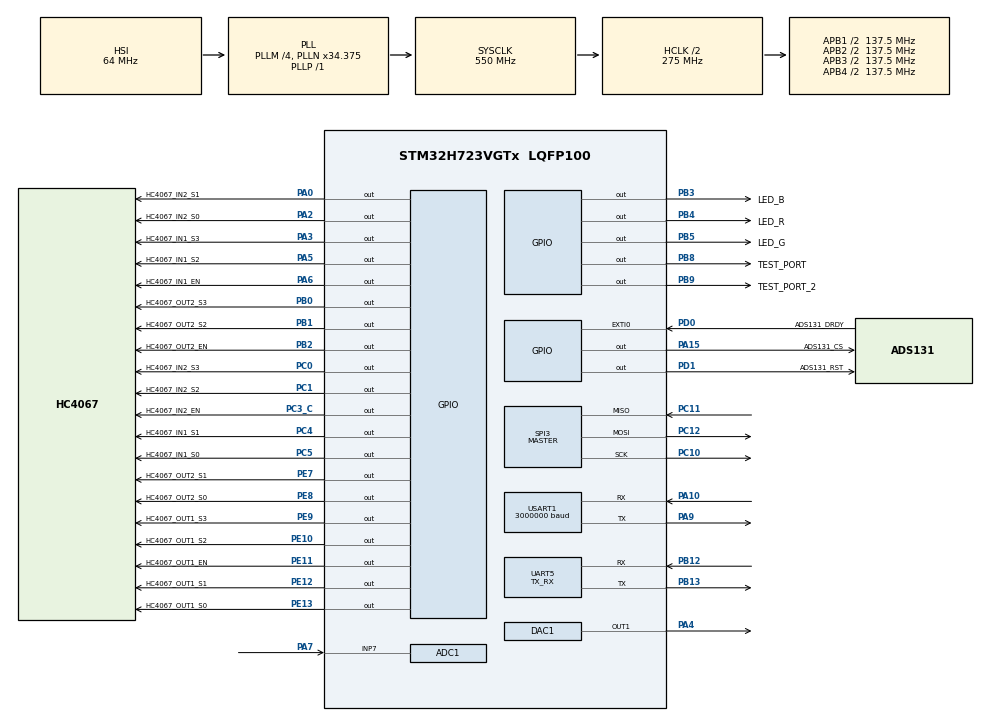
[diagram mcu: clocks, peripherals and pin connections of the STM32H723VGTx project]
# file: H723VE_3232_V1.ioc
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ADC1.Channel-0\#ChannelRegularConversion=ADC_CHANNEL_7
ADC1.ContinuousConvMode=ENABLE
ADC1.ConversionDataManagement=ADC_CONVERSIONDATA_DMA_ONESHOT
ADC1.NbrOfConversionFlag=1
ADC1.OffsetNumber-0\#ChannelRegularConversion=ADC_OFFSET_NONE
ADC1.OffsetSignedSaturation-0\#ChannelRegularConversion=DISABLE
ADC1.Rank-0\#ChannelRegularConversion=1
ADC1.SamplingTime-0\#ChannelRegularConversion=ADC_SAMPLETIME_1CYCLE_5
ADC1.master=1
CORTEX_M7.default_mode_Activation=1
DAC1.DAC_Channel-DAC_OUT1=DAC_CHANNEL_1
DAC1.DAC_Trigger-DAC_OUT1=DAC_TRIGGER_T7_TRGO
Dma.ADC1.3.Direction=DMA_PERIPH_TO_MEMORY
Dma.ADC1.3.EventEnable=DISABLE
Dma.ADC1.3.FIFOMode=DMA_FIFOMODE_DISABLE
Dma.ADC1.3.Instance=DMA2_Stream0
Dma.ADC1.3.MemDataAlignment=DMA_MDATAALIGN_HALFWORD
Dma.ADC1.3.MemInc=DMA_MINC_ENABLE
Dma.ADC1.3.Mode=DMA_NORMAL
Dma.ADC1.3.PeriphDataAlignment=DMA_PDATAALIGN_HALFWORD
Dma.ADC1.3.PeriphInc=DMA_PINC_DISABLE
Dma.ADC1.3.Polarity=HAL_DMAMUX_REQ_GEN_RISING
Dma.ADC1.3.Priority=DMA_PRIORITY_LOW
Dma.ADC1.3.RequestNumber=1
Dma.ADC1.3.SignalID=NONE
Dma.ADC1.3.SyncEnable=DISABLE
Dma.ADC1.3.SyncPolarity=HAL_DMAMUX_SYNC_NO_EVENT
Dma.ADC1.3.SyncRequestNumber=1
Dma.ADC1.3.SyncSignalID=NONE
Dma.DAC1_CH1.2.Direction=DMA_MEMORY_TO_PERIPH
Dma.DAC1_CH1.2.EventEnable=DISABLE
Dma.DAC1_CH1.2.FIFOMode=DMA_FIFOMODE_DISABLE
Dma.DAC1_CH1.2.Instance=DMA2_Stream3
Dma.DAC1_CH1.2.MemDataAlignment=DMA_MDATAALIGN_HALFWORD
Dma.DAC1_CH1.2.MemInc=DMA_MINC_ENABLE
Dma.DAC1_CH1.2.Mode=DMA_NORMAL
Dma.DAC1_CH1.2.PeriphDataAlignment=DMA_PDATAALIGN_HALFWORD
Dma.DAC1_CH1.2.PeriphInc=DMA_PINC_DISABLE
Dma.DAC1_CH1.2.Polarity=HAL_DMAMUX_REQ_GEN_RISING
Dma.DAC1_CH1.2.Priority=DMA_PRIORITY_LOW
Dma.DAC1_CH1.2.RequestNumber=1
Dma.DAC1_CH1.2.SignalID=NONE
Dma.DAC1_CH1.2.SyncEnable=DISABLE
Dma.DAC1_CH1.2.SyncPolarity=HAL_DMAMUX_SYNC_NO_EVENT
Dma.DAC1_CH1.2.SyncRequestNumber=1
Dma.DAC1_CH1.2.SyncSignalID=NONE
Dma.Request0=USART1_RX
Dma.Request1=USART1_TX
Dma.Request2=DAC1_CH1
Dma.Request3=ADC1
Dma.Request4=UART5_TX
Dma.UART5_TX.4.Direction=DMA_MEMORY_TO_PERIPH
Dma.UART5_TX.4.EventEnable=DISABLE
Dma.UART5_TX.4.FIFOMode=DMA_FIFOMODE_DISABLE
Dma.UART5_TX.4.Instance=DMA2_Stream5
Dma.UART5_TX.4.MemDataAlignment=DMA_MDATAALIGN_BYTE
Dma.UART5_TX.4.MemInc=DMA_MINC_ENABLE
Dma.UART5_TX.4.Mode=DMA_NORMAL
Dma.UART5_TX.4.PeriphDataAlignment=DMA_PDATAALIGN_BYTE
Dma.UART5_TX.4.PeriphInc=DMA_PINC_DISABLE
Dma.UART5_TX.4.Polarity=HAL_DMAMUX_REQ_GEN_RISING
Dma.UART5_TX.4.Priority=DMA_PRIORITY_LOW
Dma.UART5_TX.4.RequestNumber=1
Dma.UART5_TX.4.SignalID=NONE
Dma.UART5_TX.4.SyncEnable=DISABLE
Dma.UART5_TX.4.SyncPolarity=HAL_DMAMUX_SYNC_NO_EVENT
Dma.UART5_TX.4.SyncRequestNumber=1
Dma.UART5_TX.4.SyncSignalID=NONE
Dma.USART1_RX.0.Direction=DMA_PERIPH_TO_MEMORY
Dma.USART1_RX.0.EventEnable=DISABLE
Dma.USART1_RX.0.FIFOMode=DMA_FIFOMODE_DISABLE
Dma.USART1_RX.0.Instance=DMA1_Stream0
Dma.USART1_RX.0.MemDataAlignment=DMA_MDATAALIGN_BYTE
Dma.USART1_RX.0.MemInc=DMA_MINC_ENABLE
Dma.USART1_RX.0.Mode=DMA_NORMAL
Dma.USART1_RX.0.PeriphDataAlignment=DMA_PDATAALIGN_BYTE
Dma.USART1_RX.0.PeriphInc=DMA_PINC_DISABLE
Dma.USART1_RX.0.Polarity=HAL_DMAMUX_REQ_GEN_RISING
Dma.USART1_RX.0.Priority=DMA_PRIORITY_MEDIUM
Dma.USART1_RX.0.RequestNumber=1
Dma.USART1_RX.0.SignalID=NONE
Dma.USART1_RX.0.SyncEnable=DISABLE
Dma.USART1_RX.0.SyncPolarity=HAL_DMAMUX_SYNC_NO_EVENT
Dma.USART1_RX.0.SyncRequestNumber=1
Dma.USART1_RX.0.SyncSignalID=NONE
Dma.USART1_TX.1.Direction=DMA_MEMORY_TO_PERIPH
Dma.USART1_TX.1.EventEnable=DISABLE
Dma.USART1_TX.1.FIFOMode=DMA_FIFOMODE_DISABLE
Dma.USART1_TX.1.Instance=DMA1_Stream1
Dma.USART1_TX.1.MemDataAlignment=DMA_MDATAALIGN_BYTE
Dma.USART1_TX.1.MemInc=DMA_MINC_ENABLE
Dma.USART1_TX.1.Mode=DMA_NORMAL
Dma.USART1_TX.1.PeriphDataAlignment=DMA_PDATAALIGN_BYTE
Dma.USART1_TX.1.PeriphInc=DMA_PINC_DISABLE
Dma.USART1_TX.1.Polarity=HAL_DMAMUX_REQ_GEN_RISING
Dma.USART1_TX.1.Priority=DMA_PRIORITY_LOW
Dma.USART1_TX.1.RequestNumber=1
Dma.USART1_TX.1.SignalID=NONE
Dma.USART1_TX.1.SyncEnable=DISABLE
Dma.USART1_TX.1.SyncPolarity=HAL_DMAMUX_SYNC_NO_EVENT
Dma.USART1_TX.1.SyncRequestNumber=1
Dma.USART1_TX.1.SyncSignalID=NONE
Mcu.Family=STM32H7
Mcu.Name=STM32H723VGTx
Mcu.Package=LQFP100
NVIC.DMA1_Stream0_IRQn=true\:1\:0\:true\:false\:true\:false\:true\:true
NVIC.DMA1_Stream1_IRQn=true\:1\:0\:true\:false\:true\:false\:true\:true
NVIC.DMA2_Stream0_IRQn=true\:0\:0\:false\:false\:true\:false\:true\:true
NVIC.DMA2_Stream3_IRQn=true\:0\:0\:false\:false\:true\:false\:true\:true
NVIC.DMA2_Stream5_IRQn=true\:0\:0\:false\:false\:true\:false\:true\:true
NVIC.EXTI0_IRQn=true\:0\:0\:false\:false\:true\:true\:true\:true
NVIC.PriorityGroup=NVIC_PRIORITYGROUP_4
NVIC.SPI3_IRQn=true\:0\:0\:false\:false\:true\:true\:true\:true
NVIC.UART5_IRQn=true\:0\:0\:false\:false\:true\:true\:true\:true
NVIC.USART1_IRQn=true\:0\:0\:false\:false\:true\:false\:true\:true
PA0.GPIO_Label=HC4067_IN2_S1
PA0.GPIO_ModeDefaultOutputPP=GPIO_MODE_OUTPUT_PP
PA0.GPIO_PuPd=GPIO_NOPULL
PA0.GPIO_Speed=GPIO_SPEED_FREQ_VERY_HIGH
PA0.PinState=GPIO_PIN_RESET
PA0.Signal=GPIO_Output
PA10.Mode=Asynchronous
PA10.Signal=USART1_RX
PA13(JTMS/SWDIO).Mode=Serial_Wire
PA13(JTMS/SWDIO).Signal=DEBUG_JTMS-SWDIO
PA14(JTCK/SWCLK).Mode=Serial_Wire
PA14(JTCK/SWCLK).Signal=DEBUG_JTCK-SWCLK
PA15(JTDI).GPIO_Label=ADS131_CS
PA15(JTDI).GPIO_Speed=GPIO_SPEED_FREQ_VERY_HIGH
PA15(JTDI).PinState=GPIO_PIN_SET
PA15(JTDI).Signal=GPIO_Output
PA2.GPIO_Label=HC4067_IN2_S0
PA2.GPIO_ModeDefaultOutputPP=GPIO_MODE_OUTPUT_PP
PA2.GPIO_PuPd=GPIO_NOPULL
PA2.GPIO_Speed=GPIO_SPEED_FREQ_VERY_HIGH
PA2.PinState=GPIO_PIN_RESET
PA2.Signal=GPIO_Output
PA3.GPIO_Label=HC4067_IN1_S3
PA3.GPIO_ModeDefaultOutputPP=GPIO_MODE_OUTPUT_PP
PA3.GPIO_PuPd=GPIO_NOPULL
PA3.GPIO_Speed=GPIO_SPEED_FREQ_VERY_HIGH
PA3.PinState=GPIO_PIN_RESET
PA3.Signal=GPIO_Output
PA4.Signal=COMP_DAC11_group
PA5.GPIO_Label=HC4067_IN1_S2
PA5.GPIO_ModeDefaultOutputPP=GPIO_MODE_OUTPUT_PP
PA5.GPIO_PuPd=GPIO_NOPULL
PA5.GPIO_Speed=GPIO_SPEED_FREQ_VERY_HIGH
PA5.PinState=GPIO_PIN_RESET
PA5.Signal=GPIO_Output
PA6.GPIO_Label=HC4067_IN1_EN
PA6.GPIO_Speed=GPIO_SPEED_FREQ_VERY_HIGH
PA6.Signal=GPIO_Output
PA7.Signal=ADCx_INP7
PA9.Mode=Asynchronous
PA9.Signal=USART1_TX
PB0.GPIO_Label=HC4067_OUT2_S3
PB0.GPIO_ModeDefaultOutputPP=GPIO_MODE_OUTPUT_PP
PB0.GPIO_PuPd=GPIO_NOPULL
PB0.GPIO_Speed=GPIO_SPEED_FREQ_VERY_HIGH
PB0.PinState=GPIO_PIN_RESET
PB0.Signal=GPIO_Output
PB1.GPIO_Label=HC4067_OUT2_S2
PB1.GPIO_ModeDefaultOutputPP=GPIO_MODE_OUTPUT_PP
PB1.GPIO_PuPd=GPIO_NOPULL
PB1.GPIO_Speed=GPIO_SPEED_FREQ_VERY_HIGH
PB1.PinState=GPIO_PIN_RESET
PB1.Signal=GPIO_Output
PB12.Mode=Asynchronous
PB12.Signal=UART5_RX
PB13.Mode=Asynchronous
PB13.Signal=UART5_TX
PB2.GPIO_Label=HC4067_OUT2_EN
PB2.GPIO_ModeDefaultOutputPP=GPIO_MODE_OUTPUT_PP
PB2.GPIO_PuPd=GPIO_NOPULL
PB2.GPIO_Speed=GPIO_SPEED_FREQ_VERY_HIGH
PB2.PinState=GPIO_PIN_RESET
PB2.Signal=GPIO_Output
PB3(JTDO/TRACESWO).GPIO_Label=LED_B
PB3(JTDO/TRACESWO).GPIO_ModeDefaultOutputPP=GPIO_MODE_OUTPUT_PP
PB3(JTDO/TRACESWO).GPIO_PuPd=GPIO_NOPULL
PB3(JTDO/TRACESWO).GPIO_Speed=GPIO_SPEED_FREQ_VERY_HIGH
PB3(JTDO/TRACESWO).PinState=GPIO_PIN_SET
PB3(JTDO/TRACESWO).Signal=GPIO_Output
PB4(NJTRST).GPIO_Label=LED_R
PB4(NJTRST).GPIO_ModeDefaultOutputPP=GPIO_MODE_OUTPUT_PP
PB4(NJTRST).GPIO_PuPd=GPIO_NOPULL
PB4(NJTRST).GPIO_Speed=GPIO_SPEED_FREQ_VERY_HIGH
PB4(NJTRST).PinState=GPIO_PIN_SET
PB4(NJTRST).Signal=GPIO_Output
PB5.GPIO_Label=LED_G
PB5.GPIO_ModeDefaultOutputPP=GPIO_MODE_OUTPUT_PP
PB5.GPIO_PuPd=GPIO_NOPULL
PB5.GPIO_Speed=GPIO_SPEED_FREQ_LOW
PB5.PinState=GPIO_PIN_SET
PB5.Signal=GPIO_Output
PB8.GPIO_Label=TEST_PORT
PB8.GPIO_Speed=GPIO_SPEED_FREQ_VERY_HIGH
PB8.Signal=GPIO_Output
PB9.GPIO_Label=TEST_PORT_2
PB9.GPIO_Speed=GPIO_SPEED_FREQ_VERY_HIGH
PB9.Signal=GPIO_Output
PC0.GPIO_Label=HC4067_IN2_S3
PC0.GPIO_ModeDefaultOutputPP=GPIO_MODE_OUTPUT_PP
PC0.GPIO_PuPd=GPIO_NOPULL
PC0.GPIO_Speed=GPIO_SPEED_FREQ_VERY_HIGH
PC0.PinState=GPIO_PIN_RESET
PC0.Signal=GPIO_Output
PC1.GPIO_Label=HC4067_IN2_S2
PC1.GPIO_ModeDefaultOutputPP=GPIO_MODE_OUTPUT_PP
PC1.GPIO_PuPd=GPIO_NOPULL
PC1.GPIO_Speed=GPIO_SPEED_FREQ_VERY_HIGH
PC1.PinState=GPIO_PIN_RESET
PC1.Signal=GPIO_Output
PC10.Mode=Full_Duplex_Master
PC10.Signal=SPI3_SCK
PC11.Mode=Full_Duplex_Master
PC11.Signal=SPI3_MISO
PC12.Mode=Full_Duplex_Master
PC12.Signal=SPI3_MOSI
PC3_C.GPIO_Label=HC4067_IN2_EN
PC3_C.GPIO_ModeDefaultOutputPP=GPIO_MODE_OUTPUT_PP
PC3_C.GPIO_PuPd=GPIO_NOPULL
PC3_C.GPIO_Speed=GPIO_SPEED_FREQ_VERY_HIGH
PC3_C.PinState=GPIO_PIN_SET
PC3_C.Signal=GPIO_Output
PC4.GPIO_Label=HC4067_IN1_S1
PC4.GPIO_ModeDefaultOutputPP=GPIO_MODE_OUTPUT_PP
PC4.GPIO_PuPd=GPIO_NOPULL
PC4.GPIO_Speed=GPIO_SPEED_FREQ_VERY_HIGH
PC4.PinState=GPIO_PIN_RESET
PC4.Signal=GPIO_Output
PC5.GPIO_Label=HC4067_IN1_S0
PC5.GPIO_ModeDefaultOutputPP=GPIO_MODE_OUTPUT_PP
PC5.GPIO_PuPd=GPIO_NOPULL
PC5.GPIO_Speed=GPIO_SPEED_FREQ_VERY_HIGH
PC5.PinState=GPIO_PIN_RESET
PC5.Signal=GPIO_Output
PD0.GPIO_Label=ADS131_DRDY
PD0.Signal=GPXTI0
PD1.GPIO_Label=ADS131_RST
PD1.Signal=GPIO_Output
PE10.GPIO_Label=HC4067_OUT1_S2
PE10.GPIO_ModeDefaultOutputPP=GPIO_MODE_OUTPUT_PP
PE10.GPIO_PuPd=GPIO_NOPULL
PE10.GPIO_Speed=GPIO_SPEED_FREQ_VERY_HIGH
PE10.PinState=GPIO_PIN_RESET
PE10.Signal=GPIO_Output
PE11.GPIO_Label=HC4067_OUT1_EN
PE11.GPIO_ModeDefaultOutputPP=GPIO_MODE_OUTPUT_PP
PE11.GPIO_PuPd=GPIO_NOPULL
PE11.GPIO_Speed=GPIO_SPEED_FREQ_VERY_HIGH
PE11.PinState=GPIO_PIN_SET
PE11.Signal=GPIO_Output
PE12.GPIO_Label=HC4067_OUT1_S1
PE12.GPIO_ModeDefaultOutputPP=GPIO_MODE_OUTPUT_PP
PE12.GPIO_PuPd=GPIO_NOPULL
PE12.GPIO_Speed=GPIO_SPEED_FREQ_VERY_HIGH
PE12.PinState=GPIO_PIN_RESET
PE12.Signal=GPIO_Output
PE13.GPIO_Label=HC4067_OUT1_S0
PE13.GPIO_ModeDefaultOutputPP=GPIO_MODE_OUTPUT_PP
PE13.GPIO_PuPd=GPIO_NOPULL
PE13.GPIO_Speed=GPIO_SPEED_FREQ_VERY_HIGH
PE13.PinState=GPIO_PIN_RESET
PE13.Signal=GPIO_Output
PE7.GPIO_Label=HC4067_OUT2_S1
PE7.GPIO_ModeDefaultOutputPP=GPIO_MODE_OUTPUT_PP
PE7.GPIO_PuPd=GPIO_NOPULL
PE7.GPIO_Speed=GPIO_SPEED_FREQ_VERY_HIGH
PE7.PinState=GPIO_PIN_RESET
PE7.Signal=GPIO_Output
PE8.GPIO_Label=HC4067_OUT2_S0
PE8.GPIO_ModeDefaultOutputPP=GPIO_MODE_OUTPUT_PP
PE8.GPIO_PuPd=GPIO_NOPULL
PE8.GPIO_Speed=GPIO_SPEED_FREQ_VERY_HIGH
PE8.PinState=GPIO_PIN_RESET
PE8.Signal=GPIO_Output
PE9.GPIO_Label=HC4067_OUT1_S3
PE9.GPIO_ModeDefaultOutputPP=GPIO_MODE_OUTPUT_PP
PE9.GPIO_PuPd=GPIO_NOPULL
PE9.GPIO_Speed=GPIO_SPEED_FREQ_VERY_HIGH
PE9.PinState=GPIO_PIN_RESET
PE9.Signal=GPIO_Output
PH0-OSC_IN.Mode=HSE-External-Oscillator
PH0-OSC_IN.Signal=RCC_OSC_IN
PH1-OSC_OUT.Mode=HSE-External-Oscillator
PH1-OSC_OUT.Signal=RCC_OSC_OUT
ProjectManager.HeapSize=0x200
ProjectManager.StackSize=0x400
ProjectManager.TargetToolchain=MDK-ARM V5.32
RCC.ADCFreq_Value=129000000
RCC.APB1Freq_Value=137500000
RCC.APB2Freq_Value=137500000
RCC.APB3Freq_Value=137500000
RCC.APB4Freq_Value=137500000
RCC.CortexFreq_Value=550000000
RCC.D1PPRE=RCC_APB3_DIV2
RCC.D2PPRE1=RCC_APB1_DIV2
RCC.D2PPRE2=RCC_APB2_DIV2
RCC.D3PPRE=RCC_APB4_DIV2
RCC.DIVM1=4
RCC.DIVN1=34
RCC.DIVP1=1
RCC.DIVQ1=3
RCC.HCLKFreq_Value=275000000
RCC.HPRE=RCC_HCLK_DIV2
RCC.HSE_VALUE=25000000
RCC.PLL2FRACN=0
RCC.PLL3FRACN=0
RCC.PLLFRACN=3072
RCC.SYSCLKFreq_VALUE=550000000
RCC.SYSCLKSource=RCC_SYSCLKSOURCE_PLLCLK
RCC.USBFreq_Value=183333333.33333334
SH.ADCx_INP7.0=ADC1_INP7,IN7-Single-Ended
SH.COMP_DAC11_group.0=DAC1_OUT1,DAC_OUT1
SPI3.BaudRatePrescaler=SPI_BAUDRATEPRESCALER_8
SPI3.CLKPhase=SPI_PHASE_2EDGE
SPI3.CalculateBaudRate=22.916666 MBits/s
SPI3.DataSize=SPI_DATASIZE_8BIT
SPI3.Direction=SPI_DIRECTION_2LINES
SPI3.Mode=SPI_MODE_MASTER
SPI3.VirtualType=VM_MASTER
TIM7.Period=9
TIM7.Prescaler=4
TIM7.TIM_MasterOutputTrigger=TIM_TRGO_UPDATE
UART5.Mode=MODE_TX_RX
USART1.BaudRate=3000000
USART1.VirtualMode-Asynchronous=VM_ASYNC
VP_MEMORYMAP_VS_MEMORYMAP.Mode=CurAppReg
VP_TIM7_VS_ClockSourceINT.Mode=Enable_Timer
board=custom

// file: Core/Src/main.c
/* USER CODE BEGIN Header */
/**
 ******************************************************************************
 * @file           : main.c
 * @brief          : Main program body
 ******************************************************************************
 * @attention
 *
 * Copyright (c) 2025 STMicroelectronics.
 * All rights reserved.
 *
 * This software is licensed under terms that can be found in the LICENSE file
 * in the root directory of this software component.
 * If no LICENSE file comes with this software, it is provided AS-IS.
 *
 ******************************************************************************
 */
/* USER CODE END Header */
#include "main.h"
#include "adc.h"
#include "dac.h"
#include "dma.h"
#include "memorymap.h"
#include "spi.h"
#include "tim.h"
#include "usart.h"
#include "gpio.h"

/* USER CODE BEGIN Includes */
#include "user_comm.h"
/* USER CODE END Includes */

void SystemClock_Config(void);
static void MPU_Config(void);

int main(void)
{

    /* USER CODE BEGIN 1 */
    SCB_EnableICache();
    SCB_EnableDCache();

    /* USER CODE END 1 */

    /* MPU Configuration--------------------------------------------------------*/
    MPU_Config();

    /* MCU Configuration--------------------------------------------------------*/

    /* Reset of all peripherals, Initializes the Flash interface and the Systick. */
    HAL_Init();

    /* Configure the system clock */
    SystemClock_Config();

    /* Initialize all configured peripherals */
    MX_GPIO_Init();
    MX_DMA_Init();
    MX_USART1_UART_Init();
    MX_DAC1_Init();
    MX_TIM7_Init();
    MX_ADC1_Init();
    MX_SPI3_Init();
    MX_UART5_Init();
    /* USER CODE BEGIN 2 */
    // get_half_sine_wave();
    get_sine_wave();
    // get_straight_wave();

    U5Log_Init(&huart5);

    // start_timer7;
    HAL_TIM_Base_Start(&htim7); // 启动定时器7

    // HAL_DAC_Start(&hdac1, DAC_CHANNEL_1); // 启动DAC
    delay_init();

    // 打开蓝灯
    HAL_GPIO_WritePin(LED_B_GPIO_Port, LED_B_Pin, GPIO_PIN_RESET); // Set the pin to turn on the LED

    ads_start_up();

    start_uart_rx();

    global_ver_init();
    uint32_t last_tick = HAL_GetTick();

    printf("System start, equipment type %02x\r\n", MY_EQUIP_TYPE);

    turn_all_hc4067_off();

    /* USER CODE END 2 */

    /* Infinite loop */
    /* USER CODE BEGIN WHILE */
    while (1)
    {

        // printf("System start >>>>>>>>>>>>>>>>>>>>>>>>>>>\r\n");
        // HAL_Delay(1000);

        // comm_handler();
        // dac_20k_main_task_origin();

        geer_main_task();

        // dac_20k_main_task_geer();

        // HAL_Delay(1000);
        // uart_test();

        // send_fw_version();

        // start_dac_dma();
        // delay_us(50);

        // main_app_ads_peroid_test();
        // main_task();

        // main_hc4067_test();

        // main_hc4067_test_1ch();

        // print_counter++;
        // printf("Hello DMA LOG! %u\n", print_counter);

        // // print_hellow();
        // HAL_Delay(1000);
        // HAL_GPIO_WritePin(ADS131_CS_GPIO_Port, ADS131_CS_Pin, GPIO_PIN_SET); // 拉低CS
        // HAL_GPIO_WritePin(ADS131_CS_GPIO_Port, ADS131_CS_Pin, GPIO_PIN_RESET); // 拉低CS
        // if (ads131_data_ready)
        // {
        //     ads131_frame_counter();
        //     get_ads_131_data();

        //     ads131_data_ready = 0;
        // }
        // main_task_uart_test();
        // main_adc_task();
        // dac_test();
        // main_task_peroid_test();

        // main_wave_test();

        // HAL_GPIO_WritePin(TEST_PORT_2_GPIO_Port, TEST_PORT_2_Pin, GPIO_PIN_SET); // Set the pin to turn on the LED
        // HAL_GPIO_TogglePin(TEST_PORT_2_GPIO_Port, TEST_PORT_2_Pin); // Toggle the red LED
        // send_ads131_val_to_master();

        // while(uart1_busy)
        // ;
        // Reset the pin to turn off the LED

        /* USER CODE END WHILE */

    }
}

void SystemClock_Config(void)
{
    RCC_OscInitTypeDef RCC_OscInitStruct = {0};
    RCC_ClkInitTypeDef RCC_ClkInitStruct = {0};

    /** Supply configuration update enable
     */
    HAL_PWREx_ConfigSupply(PWR_LDO_SUPPLY);

    /** Configure the main internal regulator output voltage
     */
    __HAL_PWR_VOLTAGESCALING_CONFIG(PWR_REGULATOR_VOLTAGE_SCALE0);

    while (!__HAL_PWR_GET_FLAG(PWR_FLAG_VOSRDY))
    {
    }

    /** Initializes the RCC Oscillators according to the specified parameters
     * in the RCC_OscInitTypeDef structure.
     */
    RCC_OscInitStruct.OscillatorType = RCC_OSCILLATORTYPE_HSI;
    RCC_OscInitStruct.HSIState = RCC_HSI_DIV1;
    RCC_OscInitStruct.HSICalibrationValue = 64;
    RCC_OscInitStruct.PLL.PLLState = RCC_PLL_ON;
    RCC_OscInitStruct.PLL.PLLSource = RCC_PLLSOURCE_HSI;
    RCC_OscInitStruct.PLL.PLLM = 4;
    RCC_OscInitStruct.PLL.PLLN = 34;
    RCC_OscInitStruct.PLL.PLLP = 1;
    RCC_OscInitStruct.PLL.PLLQ = 3;
    RCC_OscInitStruct.PLL.PLLR = 2;
    RCC_OscInitStruct.PLL.PLLRGE = RCC_PLL1VCIRANGE_3;
    RCC_OscInitStruct.PLL.PLLVCOSEL = RCC_PLL1VCOWIDE;
    RCC_OscInitStruct.PLL.PLLFRACN = 3072;
    if (HAL_RCC_OscConfig(&RCC_OscInitStruct) != HAL_OK)
    {
        Error_Handler();
    }

    /** Initializes the CPU, AHB and APB buses clocks
     */
    RCC_ClkInitStruct.ClockType = RCC_CLOCKTYPE_HCLK | RCC_CLOCKTYPE_SYSCLK | RCC_CLOCKTYPE_PCLK1 | RCC_CLOCKTYPE_PCLK2 | RCC_CLOCKTYPE_D3PCLK1 | RCC_CLOCKTYPE_D1PCLK1;
    RCC_ClkInitStruct.SYSCLKSource = RCC_SYSCLKSOURCE_PLLCLK;
    RCC_ClkInitStruct.SYSCLKDivider = RCC_SYSCLK_DIV1;
    RCC_ClkInitStruct.AHBCLKDivider = RCC_HCLK_DIV2;
    RCC_ClkInitStruct.APB3CLKDivider = RCC_APB3_DIV2;
    RCC_ClkInitStruct.APB1CLKDivider = RCC_APB1_DIV2;
    RCC_ClkInitStruct.APB2CLKDivider = RCC_APB2_DIV2;
    RCC_ClkInitStruct.APB4CLKDivider = RCC_APB4_DIV2;

    if (HAL_RCC_ClockConfig(&RCC_ClkInitStruct, FLASH_LATENCY_3) != HAL_OK)
    {
        Error_Handler();
    }
}

/* USER CODE BEGIN 4 */

void MPU_Config(void)
{
    MPU_Region_InitTypeDef MPU_InitStruct = {0};

    /* Disable the MPU */
    HAL_MPU_Disable();

    /* Region 0: Set whole memory space as NO_ACCESS (default fallback) */
    MPU_InitStruct.Enable = MPU_REGION_ENABLE;
    MPU_InitStruct.Number = MPU_REGION_NUMBER0;
    MPU_InitStruct.BaseAddress = 0x00000000;
    MPU_InitStruct.Size = MPU_REGION_SIZE_4GB;
    MPU_InitStruct.SubRegionDisable = 0x87;
    MPU_InitStruct.TypeExtField = MPU_TEX_LEVEL0;
    MPU_InitStruct.AccessPermission = MPU_REGION_NO_ACCESS;
    MPU_InitStruct.DisableExec = MPU_INSTRUCTION_ACCESS_DISABLE;
    MPU_InitStruct.IsShareable = MPU_ACCESS_SHAREABLE;
    MPU_InitStruct.IsCacheable = MPU_ACCESS_NOT_CACHEABLE;
    MPU_InitStruct.IsBufferable = MPU_ACCESS_NOT_BUFFERABLE;

    HAL_MPU_ConfigRegion(&MPU_InitStruct);

    /* Region 1: Configure 0x30000000~ for DMA buffers (Non-cacheable) */
    MPU_InitStruct.Enable = MPU_REGION_ENABLE;
    MPU_InitStruct.Number = MPU_REGION_NUMBER1;
    MPU_InitStruct.BaseAddress = 0x30000000;
    MPU_InitStruct.Size = MPU_REGION_SIZE_128KB; // 或者根据需要换成 256KB、512KB
    MPU_InitStruct.AccessPermission = MPU_REGION_FULL_ACCESS;
    MPU_InitStruct.IsBufferable = MPU_ACCESS_BUFFERABLE;
    MPU_InitStruct.IsCacheable = MPU_ACCESS_NOT_CACHEABLE;
    MPU_InitStruct.IsShareable = MPU_ACCESS_SHAREABLE;
    MPU_InitStruct.TypeExtField = MPU_TEX_LEVEL0;
    MPU_InitStruct.SubRegionDisable = 0x00;
    MPU_InitStruct.DisableExec = MPU_INSTRUCTION_ACCESS_DISABLE;

    HAL_MPU_ConfigRegion(&MPU_InitStruct);

    /* Enable the MPU */
    HAL_MPU_Enable(MPU_PRIVILEGED_DEFAULT);
}
/* USER CODE END 4 */

/* MPU Configuration */

void MPU_Config_(void)
{
    MPU_Region_InitTypeDef MPU_InitStruct = {0};

    /* Disables the MPU */
    HAL_MPU_Disable();

    /** Initializes and configures the Region and the memory to be protected
     */
    MPU_InitStruct.Enable = MPU_REGION_ENABLE;
    MPU_InitStruct.Number = MPU_REGION_NUMBER0;
    MPU_InitStruct.BaseAddress = 0x0;
    MPU_InitStruct.Size = MPU_REGION_SIZE_4GB;
    MPU_InitStruct.SubRegionDisable = 0x87;
    MPU_InitStruct.TypeExtField = MPU_TEX_LEVEL0;
    MPU_InitStruct.AccessPermission = MPU_REGION_NO_ACCESS;
    MPU_InitStruct.DisableExec = MPU_INSTRUCTION_ACCESS_DISABLE;
    MPU_InitStruct.IsShareable = MPU_ACCESS_SHAREABLE;
    MPU_InitStruct.IsCacheable = MPU_ACCESS_NOT_CACHEABLE;
    MPU_InitStruct.IsBufferable = MPU_ACCESS_NOT_BUFFERABLE;

    HAL_MPU_ConfigRegion(&MPU_InitStruct);
    /* Enables the MPU */
    HAL_MPU_Enable(MPU_PRIVILEGED_DEFAULT);
}

void Error_Handler(void)
{
    __disable_irq();
    while (1)
    {
    }
}
